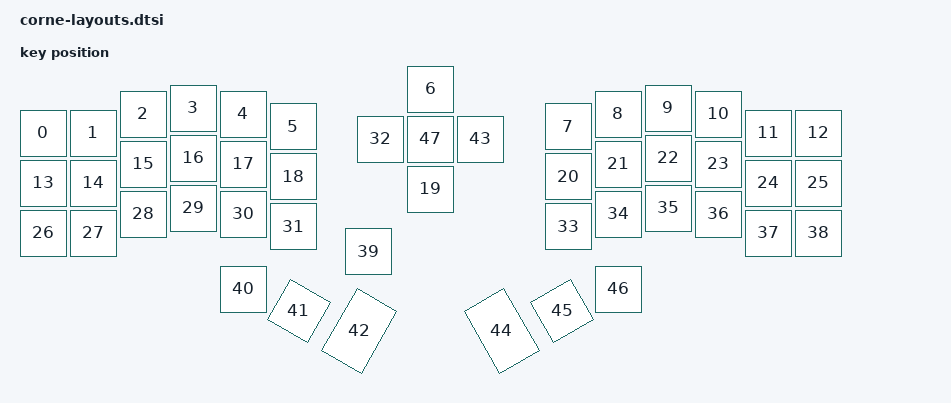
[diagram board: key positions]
#include <physical_layouts.dtsi>

/ {
    corne_layout: corne_layout {
        compatible = "zmk,physical-layout";
        display-name = "Layout";

        transform = <&default_transform>;

        keys  //                     w   h    x    y     rot    rx    ry
            = <&key_physical_attrs 100 100    0   88       0     0     0>
            , <&key_physical_attrs 100 100  100   88       0     0     0>
            , <&key_physical_attrs 100 100  200   50       0     0     0>
            , <&key_physical_attrs 100 100  300   38       0     0     0>
            , <&key_physical_attrs 100 100  400   50       0     0     0>
            , <&key_physical_attrs 100 100  500   75       0     0     0>
            , <&key_physical_attrs 100 100  775    0       0     0     0>
            , <&key_physical_attrs 100 100 1050   75       0     0     0>
            , <&key_physical_attrs 100 100 1150   50       0     0     0>
            , <&key_physical_attrs 100 100 1250   38       0     0     0>
            , <&key_physical_attrs 100 100 1350   50       0     0     0>
            , <&key_physical_attrs 100 100 1450   88       0     0     0>
            , <&key_physical_attrs 100 100 1550   88       0     0     0>
            , <&key_physical_attrs 100 100    0  188       0     0     0>
            , <&key_physical_attrs 100 100  100  188       0     0     0>
            , <&key_physical_attrs 100 100  200  150       0     0     0>
            , <&key_physical_attrs 100 100  300  138       0     0     0>
            , <&key_physical_attrs 100 100  400  150       0     0     0>
            , <&key_physical_attrs 100 100  500  175       0     0     0>
            , <&key_physical_attrs 100 100  775  200       0     0     0>
            , <&key_physical_attrs 100 100 1050  175       0     0     0>
            , <&key_physical_attrs 100 100 1150  150       0     0     0>
            , <&key_physical_attrs 100 100 1250  138       0     0     0>
            , <&key_physical_attrs 100 100 1350  150       0     0     0>
            , <&key_physical_attrs 100 100 1450  188       0     0     0>
            , <&key_physical_attrs 100 100 1550  188       0     0     0>
            , <&key_physical_attrs 100 100    0  288       0     0     0>
            , <&key_physical_attrs 100 100  100  288       0     0     0>
            , <&key_physical_attrs 100 100  200  250       0     0     0>
            , <&key_physical_attrs 100 100  300  238       0     0     0>
            , <&key_physical_attrs 100 100  400  250       0     0     0>
            , <&key_physical_attrs 100 100  500  275       0     0     0>
            , <&key_physical_attrs 100 100  675  100       0     0     0>
            , <&key_physical_attrs 100 100 1050  275       0     0     0>
            , <&key_physical_attrs 100 100 1150  250       0     0     0>
            , <&key_physical_attrs 100 100 1250  238       0     0     0>
            , <&key_physical_attrs 100 100 1350  250       0     0     0>
            , <&key_physical_attrs 100 100 1450  288       0     0     0>
            , <&key_physical_attrs 100 100 1550  288       0     0     0>
            , <&key_physical_attrs 100 100  650  325       0     0     0>
            , <&key_physical_attrs 100 100  400  400       0     0     0>
            , <&key_physical_attrs 100 100  550  400    3000   500   400>
            , <&key_physical_attrs 100 150  675  350    3000   500   400>
            , <&key_physical_attrs 100 100  875  100       0     0     0>
            , <&key_physical_attrs 100 150  875  350 (-3000)  1150   400>
            , <&key_physical_attrs 100 100 1000  400 (-3000)  1150   400>
            , <&key_physical_attrs 100 100 1150  400       0     0     0>
            , <&key_physical_attrs 100 100  775  100       0     0     0>
            ;
    };
};
